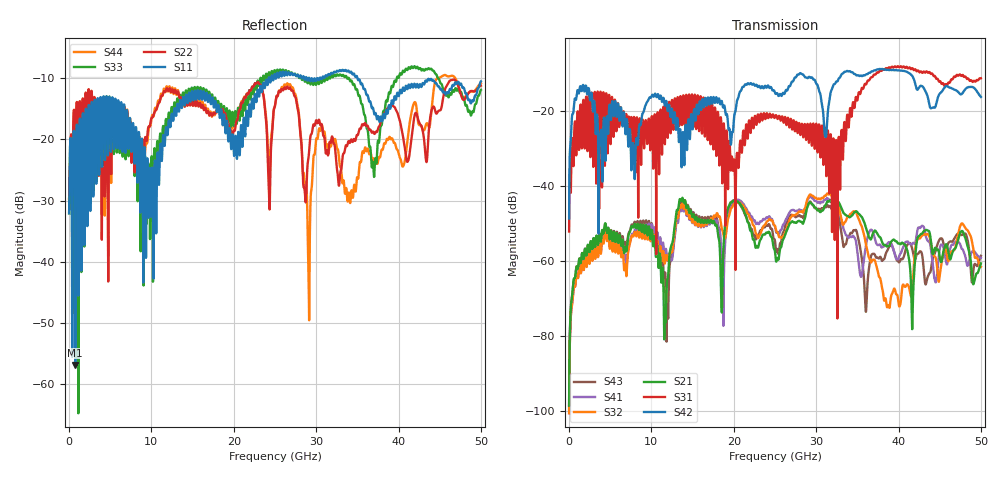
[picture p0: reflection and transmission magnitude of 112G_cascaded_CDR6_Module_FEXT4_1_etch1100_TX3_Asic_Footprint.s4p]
! Created Wed Feb 27 11:57:34 2019
# hz S ma R 50
! 4 Port Network Data from SP1.SP block
! freq  magS11  angS11  magS12  angS12  magS13  angS13  magS14  angS14
!  magS21  angS21  magS22  angS22  magS23  angS23  magS24  angS24
!  magS31  angS31  magS32  angS32  magS33  angS33  magS34  angS34
!  magS41  angS41  magS42  angS42  magS43  angS43  magS44  angS44
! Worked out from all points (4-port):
!   5000 points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, 10 MHz to 50 GHz, reference 50 ohm
!   strongest paths, dB at 10 MHz, 12.51 GHz, 25.01 GHz, 37.51 GHz, 50 GHz:
!     S42: -48.6, -19.6, -15.1, -8.8, -16.1
!     S31: -52.1, -17.0, -21.5, -9.7, -11.2
!     S21: -98.5, -55.3, -57.5, -52.9, -60.6
!     S32: -100.5, -57.5, -50.6, -63.0, -61.5
!     S41: -100.6, -59.6, -50.7, -55.7, -59.1
!     S43: -98.5, -57.9, -54.7, -59.1, -58.5
!   lowest |S11| = -56.9 dB at 760 MHz (marker M1), VSWR 1.00, Z = 49.9 + j0.11 ohm
!   |S11| at or under -10 dB: start of sweep to 24.24 GHz; 29.17 GHz to 30.13 GHz (967.1 MHz wide, 3.26 % of centre); 35.01 GHz to end of sweep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
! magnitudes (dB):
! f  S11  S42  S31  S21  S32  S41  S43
! 10 MHz  -32.1  -48.6  -52.1  -98.5  -100.5  -100.6  -98.5
! 760 MHz  -56.9  -16.6  -23.3  -64.1  -66.4  -66.5  -64.1
! 7.79 GHz  -17.5  -28.8  -24.6  -51.0  -53.4  -53.0  -50.6
! 26.68 GHz  -9.1  -13.3  -23.3  -50.5  -49.6  -47.3  -48.3
! 29.12 GHz  -9.9  -10.8  -28.3  -44.6  -42.6  -43.1  -44.4
! 38.74 GHz  -15.3  -8.9  -8.5  -56.0  -71.7  -55.0  -56.6
! 50 GHz  -10.5  -16.1  -11.2  -60.6  -61.5  -59.1  -58.5
